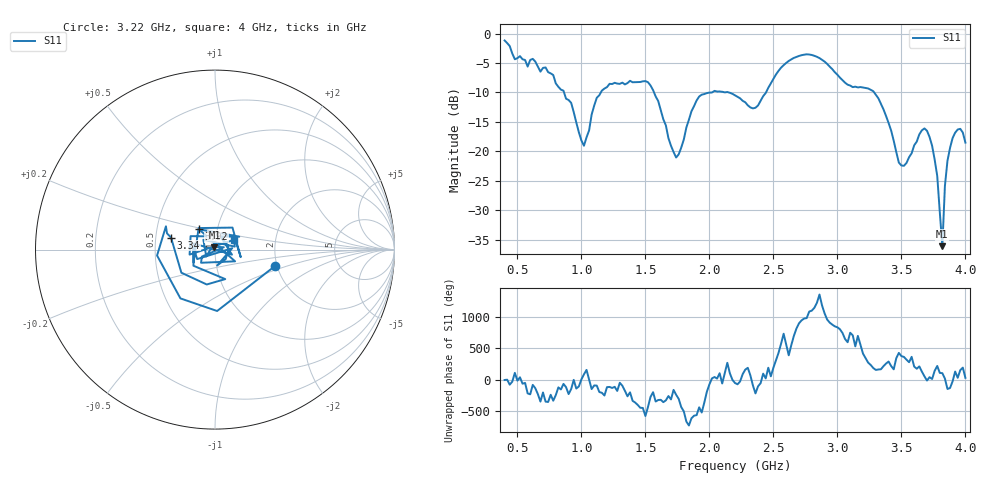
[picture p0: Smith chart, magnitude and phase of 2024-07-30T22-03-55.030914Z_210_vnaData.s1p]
!Created with skrf (http://scikit-rf.org).
# Hz S RI R 50.0
!freq ReS11 ImS11
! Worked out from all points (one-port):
!   181 points, 400 MHz to 4 GHz, reference 50 ohm
!   lowest |S11| = -36.1 dB at 3.82 GHz (marker M1), VSWR 1.03, Z = 49.7 + j1.52 ohm
!   |S11| at or under -10 dB: 1.568 GHz to 2.02 GHz (452.7 MHz wide, 25.2 % of centre); 2.152 GHz to 2.442 GHz (289.6 MHz wide, 12.6 % of centre); 3.287 GHz to end of sweep (the widest 3 of 4)
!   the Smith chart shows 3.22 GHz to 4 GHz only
!   S11 on the Smith chart (normalised r, x): 3.22 GHz: 1.95, -0.41; 3.34 GHz: 0.60, +0.09; 3.92 GHz: 0.82, +0.19; 4 GHz: 1.23, +0.14
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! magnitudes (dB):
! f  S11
! 400 MHz  -1.2
! 480 MHz  -4.4
! 620 MHz  -4.3
! 860 MHz  -9.7
! 1.02 GHz  -19.1
! 1.12 GHz  -10.9
! 1.3 GHz  -8.5
! 1.52 GHz  -8.2
! 1.72 GHz  -20.1
! 1.76 GHz  -20.5
! 1.92 GHz  -10.7
! 2.2 GHz  -10.5
! 2.36 GHz  -12.6
! 2.66 GHz  -4.1
! 2.84 GHz  -3.9
! 3.1 GHz  -8.8
! 3.22 GHz  -9.2
! 3.34 GHz  -11.9
! 3.48 GHz  -21.9
! 3.56 GHz  -21.0
! 3.66 GHz  -16.4
! 3.72 GHz  -17.6
! 3.78 GHz  -24.2
! 3.82 GHz  -36.1
! 3.84 GHz  -25.9
! 3.86 GHz  -21.6
! 3.92 GHz  -16.8
! 4 GHz  -18.5
